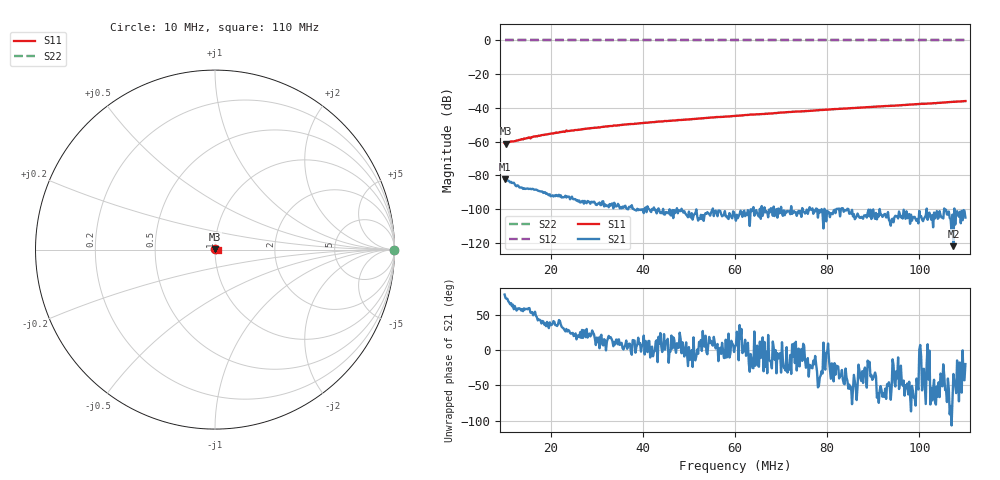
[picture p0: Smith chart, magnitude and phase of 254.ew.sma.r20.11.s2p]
! Anritsu VNA Master:  Model: MS2036C/10/77
! SN:  1601066
! /card0/usr/254.ew.sma.r20.11.s2p
! Existing Calibration Information:
! TYPE:  Current Settings,  Active Cal Settings
! TIME:  12/20/2017 12:35:13 PM,  12/20/2017 12:32:09 PM
! INTERNAL TEMP:  45.5 C,  45.8 C
! # POINTS:  501,  501
! START FREQ:  10.000 MHz,  10.000 MHz
! STOP FREQ:  110.000 MHz,  110.000 MHz
! SOURCE POWER:  High,  High
! IFBW:  100 Hz,  100 Hz
! AVG FACTOR:  1 ,  1
! REF PLANE 1:  0 mm,  0 mm
! REF PLANE 2:  0 mm,  0 mm
! CAL TYPE:  Full S11,  Full S11
! CAL METHOD:  SOLT,  SOLT
! CAL LINE TYPE:  Coax,  Coax
! DUT PORT 1:  N-Conn(F),  N-Conn(F)
! DUT PORT 2:  K-Conn(F),  K-Conn(F)
! CAL STATUS:  OK: Accuracy High,  --
# GHZ S DB R 50.0
! FREQ.GHZ  S11DB  S11A  S21DB  S21A  S12DB  S12A  S22DB  S22A
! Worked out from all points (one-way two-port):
!   501 points, 10 MHz to 110 MHz, reference 50 ohm
!   highest |S21| = -82.23 dB at 10 MHz (marker M1); lowest = -122.0 dB at 107.4 MHz (marker M2)
!   lowest |S11| = -61.3 dB at 10.2 MHz (marker M3), VSWR 1.00, Z = 50 + j0.086 ohm
!   |S11| at or under -10 dB: start of sweep to end of sweep
!   |S22| runs from 0.0 to 0.0 dB; largest |S21 - S12| = 1
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0.01  -60.88 91.4  -82.23 79.1  0.00 0.0  0.00 0.0
0.0102  -61.31 89.2  -82.52 74.4  0.00 0.0  0.00 0.0
0.0106  -60.66 88.1  -83.06 73.1  0.00 0.0  0.00 0.0
0.0114  -59.87 87.5  -83.89 67.0  0.00 0.0  0.00 0.0
0.0124  -59.51 84.0  -86.19 59.2  0.00 0.0  0.00 0.0
0.015  -57.92 79.9  -87.77 58.2  0.00 0.0  0.00 0.0
0.0158  -57.40 78.5  -88.21 53.0  0.00 0.0  0.00 0.0
0.0164  -56.91 77.5  -88.50 51.9  0.00 0.0  0.00 0.0
0.0224  -54.22 72.8  -93.19 33.0  0.00 0.0  0.00 0.0
0.0268  -52.65 68.4  -95.22 28.8  0.00 0.0  0.00 0.0
0.032  -50.95 64.1  -98.23 -0.3  0.00 0.0  0.00 0.0
0.0364  -49.82 59.8  -99.58 13.7  0.00 0.0  0.00 0.0
0.0434  -48.08 53.8  -99.59 19.1  0.00 0.0  0.00 0.0
0.0544  -45.72 43.8  -102.84 18.9  0.00 0.0  0.00 0.0
0.06  -44.78 39.3  -104.37 5.1  0.00 0.0  0.00 0.0
0.0716  -42.45 28.8  -101.35 -21.7  0.00 0.0  0.00 0.0
0.0768  -41.66 23.8  -99.57 -25.7  0.00 0.0  0.00 0.0
0.0812  -40.77 20.1  -103.03 -22.1  0.00 0.0  0.00 0.0
0.0934  -38.84 8.2  -106.38 -45.6  0.00 0.0  0.00 0.0
0.1038  -37.12 -2.8  -101.18 -51.5  0.00 0.0  0.00 0.0
0.1074  -36.37 -7.0  -122.00 -33.8  0.00 0.0  0.00 0.0
0.11  -35.95 -9.8  -105.06 -19.7  0.00 0.0  0.00 0.0
